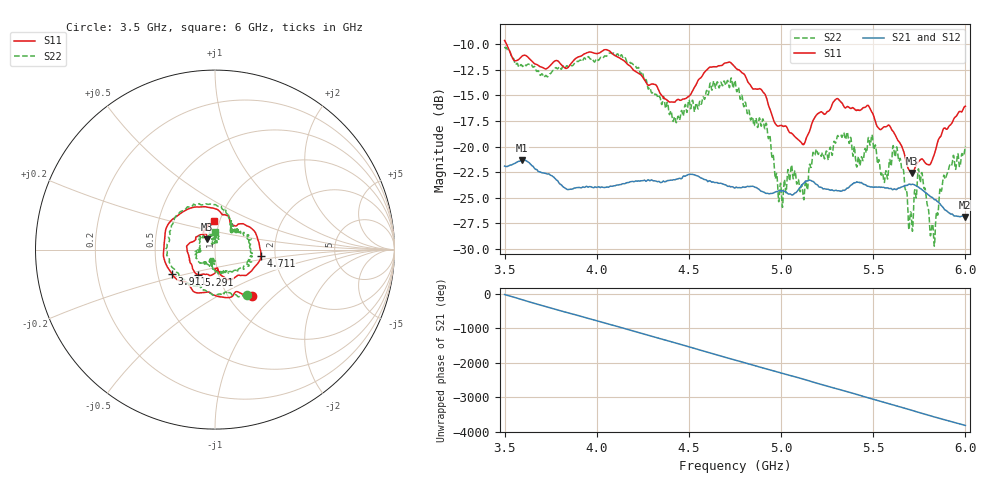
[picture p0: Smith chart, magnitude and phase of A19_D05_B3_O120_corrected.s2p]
! Created with skrf 1.9.0 (http://scikit-rf.org).
# Hz S RI R 50.0
!freq ReS11 ImS11 ReS21 ImS21 ReS12 ImS12 ReS22 ImS22
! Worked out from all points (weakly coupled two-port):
!   1601 points, 3.5 GHz to 6 GHz, reference 50 ohm
!   highest |S21| = -21.30 dB at 3.594 GHz (marker M1); lowest = -26.9 dB at 5.995 GHz (marker M2)
!   lowest |S11| = -22.6 dB at 5.711 GHz (marker M3), VSWR 1.16, Z = 45.3 + j5.26 ohm
!   |S11| at or under -10 dB: 3.511 GHz to end of sweep
!   |S22| runs from -29.7 to -10.3 dB; largest |S21 - S12| = 0.00094
!   S11 on the Smith chart (normalised r, x): 3.5 GHz: 1.27, -0.74; 3.911 GHz: 0.59, -0.17; 4.711 GHz: 1.68, -0.13; 5.291 GHz: 0.80, -0.23; 6 GHz: 0.94, +0.30
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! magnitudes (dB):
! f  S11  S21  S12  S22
! 3.5 GHz  -9.6  -21.9  -21.9  -10.3
! 3.594 GHz  -11.2  -21.3  -21.3  -12.1
! 3.911 GHz  -11.2  -24.0  -24.0  -11.6
! 3.917 GHz  -11.1  -24.0  -24.0  -11.7
! 4.142 GHz  -11.6  -23.6  -23.6  -11.4
! 4.334 GHz  -14.4  -23.4  -23.4  -15.3
! 4.423 GHz  -15.6  -23.2  -23.2  -17.1
! 4.711 GHz  -11.8  -23.9  -23.8  -13.5
! 4.75 GHz  -12.2  -24.0  -24.0  -13.5
! 4.912 GHz  -14.9  -24.5  -24.5  -18.3
! 4.997 GHz  -17.9  -24.3  -24.3  -23.6
! 5.131 GHz  -19.5  -23.4  -23.4  -23.5
! 5.167 GHz  -17.7  -23.4  -23.3  -21.5
! 5.291 GHz  -15.5  -24.3  -24.3  -19.5
! 5.584 GHz  -17.9  -24.1  -24.1  -21.8
! 5.636 GHz  -19.4  -24.0  -24.0  -21.2
! 5.711 GHz  -22.6  -23.7  -23.6  -28.0
! 5.755 GHz  -21.3  -24.1  -24.0  -23.5
! 5.823 GHz  -21.1  -25.0  -25.0  -27.6
! 5.873 GHz  -18.6  -25.8  -25.8  -24.0
! 5.995 GHz  -16.1  -26.9  -26.8  -20.5
! 6 GHz  -16.1  -26.8  -26.8  -19.9
